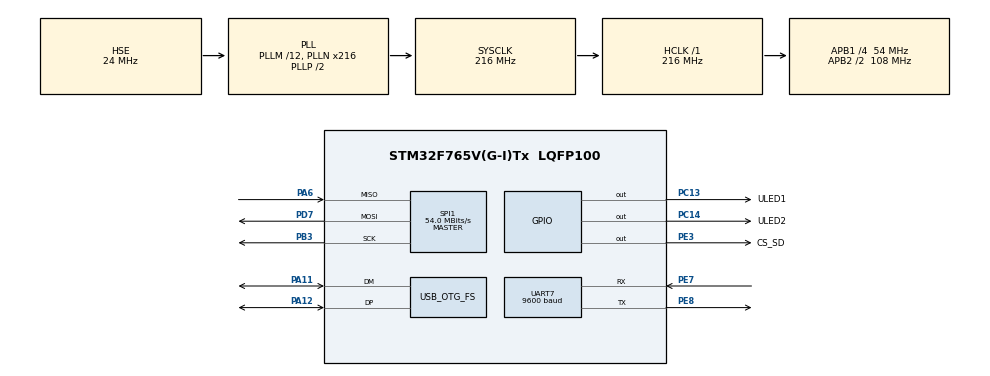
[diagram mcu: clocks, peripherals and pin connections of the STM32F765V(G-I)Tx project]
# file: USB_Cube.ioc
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FREERTOS.Tasks01=defaultTask,0,128,StartDefaultTask,Default,NULL
Mcu.Family=STM32F7
Mcu.Name=STM32F765V(G-I)Tx
Mcu.Package=LQFP100
NVIC.FLASH_IRQn=true\:5\:0\:false\:false\:true\:true\:true
NVIC.FPU_IRQn=true\:5\:0\:false\:false\:true\:true\:true
NVIC.OTG_FS_IRQn=true\:5\:0\:false\:false\:true\:true\:true
NVIC.PVD_IRQn=true\:5\:0\:false\:false\:true\:true\:true
NVIC.PriorityGroup=NVIC_PRIORITYGROUP_4
NVIC.RCC_IRQn=true\:5\:0\:false\:false\:true\:true\:true
NVIC.TIM7_IRQn=true\:0\:0\:false\:false\:true\:false\:false
NVIC.TimeBase=TIM7_IRQn
NVIC.TimeBaseIP=TIM7
NVIC.UART7_IRQn=true\:5\:0\:false\:false\:true\:true\:true
PA11.Mode=Device_Only
PA11.Signal=USB_OTG_FS_DM
PA12.Mode=Device_Only
PA12.Signal=USB_OTG_FS_DP
PA13.Mode=Serial_Wire
PA13.Signal=SYS_JTMS-SWDIO
PA14.Mode=Serial_Wire
PA14.Signal=SYS_JTCK-SWCLK
PA6.Mode=Full_Duplex_Master
PA6.Signal=SPI1_MISO
PB3.Mode=Full_Duplex_Master
PB3.Signal=SPI1_SCK
PC13.GPIO_Label=ULED1
PC13.PinState=GPIO_PIN_SET
PC13.Signal=GPIO_Output
PC14/OSC32_IN.GPIO_Label=ULED2
PC14/OSC32_IN.PinState=GPIO_PIN_SET
PC14/OSC32_IN.Signal=GPIO_Output
PD7.Mode=Full_Duplex_Master
PD7.Signal=SPI1_MOSI
PE3.GPIO_Label=CS_SD
PE3.GPIO_Speed=GPIO_SPEED_FREQ_VERY_HIGH
PE3.PinState=GPIO_PIN_SET
PE3.Signal=GPIO_Output
PE7.Mode=Asynchronous
PE7.Signal=UART7_RX
PE8.Mode=Asynchronous
PE8.Signal=UART7_TX
PH0/OSC_IN.Mode=HSE-External-Oscillator
PH0/OSC_IN.Signal=RCC_OSC_IN
PH1/OSC_OUT.Mode=HSE-External-Oscillator
PH1/OSC_OUT.Signal=RCC_OSC_OUT
ProjectManager.HeapSize=0x200
ProjectManager.StackSize=0x400
ProjectManager.TargetToolchain=TrueSTUDIO
RCC.AHBFreq_Value=216000000
RCC.APB1CLKDivider=RCC_HCLK_DIV4
RCC.APB1Freq_Value=54000000
RCC.APB1TimFreq_Value=108000000
RCC.APB2CLKDivider=RCC_HCLK_DIV2
RCC.APB2Freq_Value=108000000
RCC.APB2TimFreq_Value=216000000
RCC.CortexFreq_Value=216000000
RCC.HCLKFreq_Value=216000000
RCC.HSE_VALUE=24000000
RCC.HSI_VALUE=16000000
RCC.LSE_VALUE=32768
RCC.PLLM=12
RCC.PLLN=216
RCC.PLLQ=9
RCC.SYSCLKFreq_VALUE=216000000
RCC.SYSCLKSource=RCC_SYSCLKSOURCE_PLLCLK
RCC.USBFreq_Value=48000000
RCC.VCOOutputFreq_Value=432000000
SPI1.CLKPhase=SPI_PHASE_2EDGE
SPI1.CLKPolarity=SPI_POLARITY_HIGH
SPI1.CalculateBaudRate=54.0 MBits/s
SPI1.DataSize=SPI_DATASIZE_8BIT
SPI1.Direction=SPI_DIRECTION_2LINES
SPI1.Mode=SPI_MODE_MASTER
SPI1.VirtualType=VM_MASTER
UART7.BaudRate=9600
USB_DEVICE.CLASS_NAME_FS=MSC
USB_DEVICE.VirtualMode-MSC_FS=Msc
USB_DEVICE.VirtualModeFS=Msc_FS
USB_OTG_FS.VirtualMode=Device_Only
VP_FREERTOS_VS_ENABLE.Mode=Enabled
VP_SYS_VS_tim7.Mode=TIM7
VP_USB_DEVICE_VS_USB_DEVICE_MSC_FS.Mode=MSC_FS
board=custom

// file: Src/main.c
/**
  ******************************************************************************
  * @file           : main.c
  * @brief          : Main program body
  ******************************************************************************
  * This notice applies to any and all portions of this file
  * that are not between comment pairs USER CODE BEGIN and
  * USER CODE END. Other portions of this file, whether
  * inserted by the user or by software development tools
  * are owned by their respective copyright owners.
  *
  * Copyright (c) 2018 STMicroelectronics International N.V.
  * All rights reserved.
  *
  * Redistribution and use in source and binary forms, with or without
  * modification, are permitted, provided that the following conditions are met:
  *
  * 1. Redistribution of source code must retain the above copyright notice,
  *    this list of conditions and the following disclaimer.
  * 2. Redistributions in binary form must reproduce the above copyright notice,
  *    this list of conditions and the following disclaimer in the documentation
  *    and/or other materials provided with the distribution.
  * 3. Neither the name of STMicroelectronics nor the names of other
  *    contributors to this software may be used to endorse or promote products
  *    derived from this software without specific written permission.
  * 4. This software, including modifications and/or derivative works of this
  *    software, must execute solely and exclusively on microcontroller or
  *    microprocessor devices manufactured by or for STMicroelectronics.
  * 5. Redistribution and use of this software other than as permitted under
  *    this license is void and will automatically terminate your rights under
  *    this license.
  *
  * THIS SOFTWARE IS PROVIDED BY STMICROELECTRONICS AND CONTRIBUTORS "AS IS"
  * AND ANY EXPRESS, IMPLIED OR STATUTORY WARRANTIES, INCLUDING, BUT NOT
  * LIMITED TO, THE IMPLIED WARRANTIES OF MERCHANTABILITY, FITNESS FOR A
  * PARTICULAR PURPOSE AND NON-INFRINGEMENT OF THIRD PARTY INTELLECTUAL PROPERTY
  * RIGHTS ARE DISCLAIMED TO THE FULLEST EXTENT PERMITTED BY LAW. IN NO EVENT
  * SHALL STMICROELECTRONICS OR CONTRIBUTORS BE LIABLE FOR ANY DIRECT, INDIRECT,
  * INCIDENTAL, SPECIAL, EXEMPLARY, OR CONSEQUENTIAL DAMAGES (INCLUDING, BUT NOT
  * LIMITED TO, PROCUREMENT OF SUBSTITUTE GOODS OR SERVICES; LOSS OF USE, DATA,
  * OR PROFITS; OR BUSINESS INTERRUPTION) HOWEVER CAUSED AND ON ANY THEORY OF
  * LIABILITY, WHETHER IN CONTRACT, STRICT LIABILITY, OR TORT (INCLUDING
  * NEGLIGENCE OR OTHERWISE) ARISING IN ANY WAY OUT OF THE USE OF THIS SOFTWARE,
  * EVEN IF ADVISED OF THE POSSIBILITY OF SUCH DAMAGE.
  *
  ******************************************************************************
  */
#include "main.h"
#include "stm32f7xx_hal.h"
#include "cmsis_os.h"
#include "spi.h"
#include "usart.h"
#include "usb_device.h"
#include "gpio.h"

/* USER CODE BEGIN Includes */

#include "SPIDS.h"
#include "SPIDS_STM32F7_SPI_Driver.h"
#include "serial.h"

#define 	FTDI		&serial1

/* USER CODE END Includes */

/* USER CODE BEGIN PV */
/* Private variables ---------------------------------------------------------*/

uint8_t receivebuff[200];

SPIDS_STM32F4_SPI_Settings_TypeDef 	AES_SPIDS_SPI_Settings;
SPIDS_DiskioDriver_Typedef			AES_SPIDS_SPI_Driver;

FATFS fatfs;
FIL myfile;
FRESULT fresult;
DIR mydir;
FILINFO fileinfo;

char AES_SDPath[4];   /* SD logical drive path */

/* USER CODE END PV */

void SystemClock_Config(void);
void MX_FREERTOS_Init(void);

/* USER CODE BEGIN PFP */
/* Private function prototypes -----------------------------------------------*/

TaskHandle_t Heartbeet_Task_Handle = NULL;
void Heartbeet_Task(void* pvParameters )
{
	uint8_t rx_byte = 0;

	TickType_t xDelay = 1000 / portTICK_PERIOD_MS;

//	HAL_UART_Receive_IT(&huart7, &(rx_byte), 1);

	for(;;)
	{
//		HAL_UART_Receive_IT(&huart7, &(rx_byte), 1);
//		vTaskSuspend(NULL); // Task will suspend itself (NULL) until resumed externally (for example when UART ISR is called)
//		HAL_UART_Transmit_IT(&huart7, &(rx_byte), 1);
//		//		HAL_GPIO_TogglePin(ULED2_GPIO_Port, ULED2_Pin);

		vTaskDelay(xDelay);
		serial_println(FTDI, "And I am still alive!");

	}
}

TaskHandle_t SD_Test_Task_Handle = NULL;
void SD_Test_Task(void* pvParameters)
{

	TickType_t xDelay = 1000 / portTICK_PERIOD_MS;

	for(;;)
	{
		serial_println(FTDI, "Loop beginning");

		  serial_print(FTDI, "Mounting the SD card, result: ");
		  fresult = f_mount(&fatfs, AES_SDPath, 1);
		  print_fresult(fresult);
		  serial_println(FTDI,"");

		  if(fresult == FR_NOT_READY)
		  {
			  serial_print(FTDI, "Mounting the SD card (AGAIN), result: ");
			  fresult = f_mount(&fatfs, AES_SDPath, 1);
			  print_fresult(fresult);
		  }

		  if(fresult == FR_OK)
		  {
			  serial_print(FTDI, "Opening file 'test.txt', result: ");
			  fresult = f_open(&myfile, "test.txt", FA_CREATE_ALWAYS|FA_WRITE);
			  print_fresult(fresult);
			  serial_println(FTDI,"");

			  if(fresult == FR_OK)
			  {
				  serial_println(FTDI, "Writing data to the file...");

				  f_printf(&myfile, "This is line one\n");
				  f_printf(&myfile, "This is line two\n");
				  f_printf(&myfile, "Owen Lyke!!!\n");

				  serial_print(FTDI, "Closing the file, result: ");
				  fresult = f_close(&myfile);
				  print_fresult(fresult);
				  serial_println(FTDI, "");

			  }
			  else
			  {
				  serial_println(FTDI, "Ahh bummer");
			  }

			  serial_print(FTDI, "Opening file 'openme.txt', result: ");
			  fresult = f_open(&myfile, "openme.txt", FA_READ);
			  print_fresult(fresult);
			  serial_println(FTDI,"");

			  if(fresult == FR_OK)
			  {
				  UINT bytes_read = 0;

				  f_read(&myfile, receivebuff, 51, &bytes_read);

				  serial_print(FTDI, "read ");
				  serial_print_uint32_t(FTDI, (uint32_t)bytes_read, HEX, 4);
				  serial_println(FTDI, " bytes:");
				  serial_println(FTDI, "Here's what I read...\n");

				  serial_write(FTDI, receivebuff, (uint16_t)bytes_read);

				  serial_print(FTDI, "Closing the file, result: ");
				  fresult = f_close(&myfile);
				  print_fresult(fresult);
				  serial_println(FTDI, "");

			  }
			  else
			  {
				  serial_println(FTDI, "Didn't find the file");
			  }

			  serial_print(FTDI, "Opening root directory, result: ");
			  fresult = f_opendir(&mydir, "0:");
			  print_fresult(fresult);
			  serial_println(FTDI,"");

			  serial_println(FTDI, "Listing files...");

			  list_files();

		  }
		  else
		  {
			  serial_println(FTDI, "not ok... :(");
		  }

		  serial_println(FTDI, "Loop end");
		  serial_println(FTDI, "\n\n");

		  HAL_GPIO_TogglePin(ULED2_GPIO_Port, ULED2_Pin);

		  vTaskDelay(xDelay);
	}
}

// These functions here are wrappers for the SPI interface functions. They are defined by the user to pass in the desired spi settings in addition to normal fatfs parameters
DSTATUS AES_SPI_disk_initialize(BYTE pdrv);                     							/*!< Initialize Disk Drive                     */
DSTATUS AES_SPI_disk_status(BYTE pdrv);                     								/*!< Get Disk Status                           */
DRESULT AES_SPI_disk_read(BYTE pdrv, BYTE* buff, DWORD sector, UINT count);       			/*!< Read Sector(s)                            */
DRESULT AES_SPI_disk_write(BYTE pdrv, const BYTE* buff, DWORD sector, UINT count); 			/*!< Write Sector(s) when _USE_WRITE = 0       */
DRESULT AES_SPI_disk_ioctl(BYTE pdrv, BYTE cmd, void* buff);              					/*!< I/O control operation when _USE_IOCTL = 1 */
DWORD AES_SPI_get_fattime (void);

void print_fresult(FRESULT result);
void list_files();

/* USER CODE END PFP */

int main(void)
{
  /* USER CODE BEGIN 1 */

	// Define SPI interface settings
	SPIDS_STM32F4_SPI_Settings_Initialize(&AES_SPIDS_SPI_Settings);		// Set the SPI settings to default for safety
	AES_SPIDS_SPI_Settings.hspi = &hspi1;								// Use hspi1
	AES_SPIDS_SPI_Settings.CS_GPIO_Port = CS_SD_GPIO_Port;				// Use the sd_cs port
	AES_SPIDS_SPI_Settings.CS_Pin = CS_SD_Pin;							// Use the sd_cs pin
	AES_SPIDS_SPI_Settings.max_freq = 20000000;							// Only 20 MHz
	// leave init freq unchanged
	// Leave timeout unchanged

	// Link driver functions
	AES_SPIDS_SPI_Driver.disk_initialize = AES_SPI_disk_initialize;                     							/*!< Initialize Disk Drive                     */
	AES_SPIDS_SPI_Driver.disk_status = AES_SPI_disk_status;
	AES_SPIDS_SPI_Driver.disk_read = AES_SPI_disk_read;
	#if _USE_WRITE == 1
		AES_SPIDS_SPI_Driver.disk_write = AES_SPI_disk_write;
	#endif /* _USE_WRITE == 1 */
	#if _USE_IOCTL == 1
		AES_SPIDS_SPI_Driver.disk_ioctl = AES_SPI_disk_ioctl;
	#endif /* _USE_IOCTL == 1 */

	// Now link the driver into the disk manager(?)
		SPIDS_LinkDriver(&AES_SPIDS_SPI_Driver, AES_SDPath); // The first drive linked in should be at path "0:/\0"

  /* USER CODE END 1 */

  /* MCU Configuration----------------------------------------------------------*/

  /* Reset of all peripherals, Initializes the Flash interface and the Systick. */
  HAL_Init();

  /* Configure the system clock */
  SystemClock_Config();

  /* Initialize all configured peripherals */
  MX_GPIO_Init();
  MX_UART7_Init();
  MX_SPI1_Init();
  /* USER CODE BEGIN 2 */

  HAL_SPI_MspInit( &hspi1 );	// Configure SPI hardware

  MX_USB_DEVICE_Init();

  xTaskCreate(Heartbeet_Task,
  		  (const char* const)"Heartbeet",
  		  configMINIMAL_STACK_SIZE,
  		  0,
  		  3,
  		  &Heartbeet_Task_Handle);

//    xTaskCreate(SD_Test_Task,
//  		  (const char* const)"SD_Test",
//  		  4*configMINIMAL_STACK_SIZE,
//  		  0,
//  		  1,
//  		  &SD_Test_Task_Handle);

  serial_initialize(FTDI, &huart7);

  /* USER CODE END 2 */

  /* Call init function for freertos objects (in freertos.c) */
  MX_FREERTOS_Init();

  /* Start scheduler */
  osKernelStart();

  /* We should never get here as control is now taken by the scheduler */

  /* Infinite loop */
  while (1)
  {

  }

}

void SystemClock_Config(void)
{

  RCC_OscInitTypeDef RCC_OscInitStruct;
  RCC_ClkInitTypeDef RCC_ClkInitStruct;
  RCC_PeriphCLKInitTypeDef PeriphClkInitStruct;

    /**Configure the main internal regulator output voltage
    */
  __HAL_RCC_PWR_CLK_ENABLE();

  __HAL_PWR_VOLTAGESCALING_CONFIG(PWR_REGULATOR_VOLTAGE_SCALE1);

    /**Initializes the CPU, AHB and APB busses clocks
    */
  RCC_OscInitStruct.OscillatorType = RCC_OSCILLATORTYPE_HSE;
  RCC_OscInitStruct.HSEState = RCC_HSE_ON;
  RCC_OscInitStruct.PLL.PLLState = RCC_PLL_ON;
  RCC_OscInitStruct.PLL.PLLSource = RCC_PLLSOURCE_HSE;
  RCC_OscInitStruct.PLL.PLLM = 12;
  RCC_OscInitStruct.PLL.PLLN = 216;
  RCC_OscInitStruct.PLL.PLLP = RCC_PLLP_DIV2;
  RCC_OscInitStruct.PLL.PLLQ = 9;
  if (HAL_RCC_OscConfig(&RCC_OscInitStruct) != HAL_OK)
  {
    _Error_Handler(__FILE__, __LINE__);
  }

    /**Activate the Over-Drive mode
    */
  if (HAL_PWREx_EnableOverDrive() != HAL_OK)
  {
    _Error_Handler(__FILE__, __LINE__);
  }

    /**Initializes the CPU, AHB and APB busses clocks
    */
  RCC_ClkInitStruct.ClockType = RCC_CLOCKTYPE_HCLK|RCC_CLOCKTYPE_SYSCLK
                              |RCC_CLOCKTYPE_PCLK1|RCC_CLOCKTYPE_PCLK2;
  RCC_ClkInitStruct.SYSCLKSource = RCC_SYSCLKSOURCE_PLLCLK;
  RCC_ClkInitStruct.AHBCLKDivider = RCC_SYSCLK_DIV1;
  RCC_ClkInitStruct.APB1CLKDivider = RCC_HCLK_DIV4;
  RCC_ClkInitStruct.APB2CLKDivider = RCC_HCLK_DIV2;

  if (HAL_RCC_ClockConfig(&RCC_ClkInitStruct, FLASH_LATENCY_7) != HAL_OK)
  {
    _Error_Handler(__FILE__, __LINE__);
  }

  PeriphClkInitStruct.PeriphClockSelection = RCC_PERIPHCLK_UART7|RCC_PERIPHCLK_CLK48;
  PeriphClkInitStruct.Uart7ClockSelection = RCC_UART7CLKSOURCE_PCLK1;
  PeriphClkInitStruct.Clk48ClockSelection = RCC_CLK48SOURCE_PLL;
  if (HAL_RCCEx_PeriphCLKConfig(&PeriphClkInitStruct) != HAL_OK)
  {
    _Error_Handler(__FILE__, __LINE__);
  }

    /**Configure the Systick interrupt time
    */
  HAL_SYSTICK_Config(HAL_RCC_GetHCLKFreq()/1000);

    /**Configure the Systick
    */
  HAL_SYSTICK_CLKSourceConfig(SYSTICK_CLKSOURCE_HCLK);

  /* SysTick_IRQn interrupt configuration */
  HAL_NVIC_SetPriority(SysTick_IRQn, 15, 0);
}

/* USER CODE BEGIN 4 */

DSTATUS AES_SPI_disk_initialize(BYTE pdrv)
{
	return SPIDS_STM32F4_SPI_disk_initialize(pdrv, &AES_SPIDS_SPI_Settings);
}

DSTATUS AES_SPI_disk_status(BYTE pdrv)
{
	return SPIDS_STM32F4_SPI_disk_status(pdrv, &AES_SPIDS_SPI_Settings);
}

DRESULT AES_SPI_disk_read(BYTE pdrv, BYTE* buff, DWORD sector, UINT count)
{
	return SPIDS_STM32F4_SPI_disk_read( pdrv, buff, sector, count, &AES_SPIDS_SPI_Settings);
}

#if _USE_WRITE == 1
DRESULT AES_SPI_disk_write(BYTE pdrv, const BYTE* buff, DWORD sector, UINT count)
{
	return SPIDS_STM32F4_SPI_disk_write( pdrv, buff, sector, count, &AES_SPIDS_SPI_Settings);
}
#endif /* _USE_WRITE == 1 */

#if _USE_IOCTL == 1
DRESULT AES_SPI_disk_ioctl(BYTE pdrv, BYTE cmd, void* buff)
{
	return SPIDS_STM32F4_SPI_disk_ioctl( pdrv, cmd, buff, &AES_SPIDS_SPI_Settings);
}
#endif /* _USE_IOCTL == 1 */

DWORD AES_SPI_get_fattime (void)
{
	return SPIDS_STM32F4_SPI_get_fattime(&AES_SPIDS_SPI_Settings);
}

void print_fresult(FRESULT result)
{
	switch(result)
	{
		case FR_DISK_ERR : serial_print(FTDI, "FR_DISK_ERR"); break;
		case FR_INT_ERR : serial_print(FTDI, "FR_INT_ERR"); break;
		case FR_NOT_READY : serial_print(FTDI, "FR_NOT_READY"); break;
		case FR_NO_FILE : serial_print(FTDI, "FR_NO_FILE"); break;
		case FR_NO_PATH : serial_print(FTDI, "FR_NO_PATH"); break;
		case FR_INVALID_NAME : serial_print(FTDI, "FR_INVALID_NAME"); break;
		case FR_DENIED : serial_print(FTDI, "FR_DENIED"); break;
		case FR_EXIST : serial_print(FTDI, "FR_EXIST"); break;
		case FR_INVALID_OBJECT : serial_print(FTDI, "FR_INVALID_OBJECT"); break;
		case FR_WRITE_PROTECTED : serial_print(FTDI, "FR_WRITE_PROTECTED"); break;
		case FR_INVALID_DRIVE : serial_print(FTDI, "FR_INVALID_DRIVE"); break;
		case FR_NOT_ENABLED : serial_print(FTDI, "FR_NOT_ENABLED"); break;
		case FR_NO_FILESYSTEM : serial_print(FTDI, "FR_NO_FILESYSTEM"); break;
		case FR_MKFS_ABORTED : serial_print(FTDI, "FR_MKFS_ABORTED"); break;
		case FR_TIMEOUT : serial_print(FTDI, "FR_TIMEOUT"); break;
		case FR_LOCKED : serial_print(FTDI, "FR_LOCKED"); break;
		case FR_NOT_ENOUGH_CORE : serial_print(FTDI, "FR_NOT_ENOUGH_CORE"); break;
		case FR_TOO_MANY_OPEN_FILES : serial_print(FTDI, "FR_TOO_MANY_OPEN_FILES"); break;
		case FR_INVALID_PARAMETER : serial_print(FTDI, "FR_INVALID_PARAMETER"); break;
	}
}

void list_files()
{
	uint8_t count = 0;
	uint8_t max_reps = 100;
	uint8_t firstchar = 'a';

	while((firstchar != 0) && (count++ < max_reps))
	{
		serial_print(FTDI, "Reading a directory object, result: ");
		fresult = f_readdir(&mydir, &fileinfo);
		print_fresult(fresult);
		if(fresult == FR_OK)
		{
			serial_print(FTDI, ", Filename: ");
			serial_print(FTDI, fileinfo.fname);
			serial_println(FTDI, "");
			firstchar = fileinfo.fname[0];
		}
		else
		{
			// Error-break loop
			firstchar = 0;
		}
	}
}

// UART Callbacks!
//void HAL_UART_RxCpltCallback(UART_HandleTypeDef * huart)
//{
//	BaseType_t checkIfYieldRequired = xTaskResumeFromISR( UART_RX_Task_Handle ); // Check if need to yield
//	portYIELD_FROM_ISR( checkIfYieldRequired );
//}
//void HAL_UART_TxCpltCallback(UART_HandleTypeDef * huart)
//{
//
//}

/* USER CODE END 4 */

void HAL_TIM_PeriodElapsedCallback(TIM_HandleTypeDef *htim)
{
  if (htim->Instance == TIM7) {
    HAL_IncTick();
  }
}

void _Error_Handler(char *file, int line)
{
  while(1)
  {
  }
}

/************************ (C) COPYRIGHT STMicroelectronics *****END OF FILE****/
